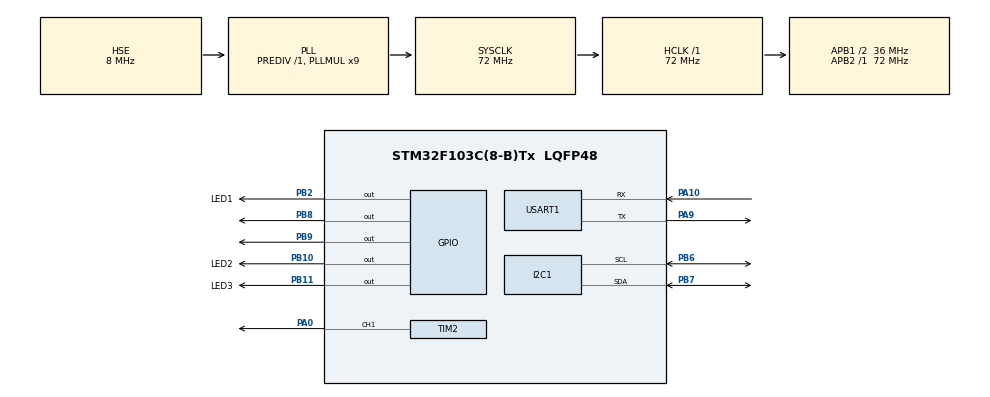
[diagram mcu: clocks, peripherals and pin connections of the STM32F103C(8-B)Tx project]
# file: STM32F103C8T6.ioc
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Dma.I2C1_TX.0.Direction=DMA_MEMORY_TO_PERIPH
Dma.I2C1_TX.0.Instance=DMA1_Channel6
Dma.I2C1_TX.0.MemDataAlignment=DMA_MDATAALIGN_BYTE
Dma.I2C1_TX.0.MemInc=DMA_MINC_ENABLE
Dma.I2C1_TX.0.Mode=DMA_NORMAL
Dma.I2C1_TX.0.PeriphDataAlignment=DMA_PDATAALIGN_BYTE
Dma.I2C1_TX.0.PeriphInc=DMA_PINC_DISABLE
Dma.I2C1_TX.0.Priority=DMA_PRIORITY_LOW
Dma.Request0=I2C1_TX
Dma.Request1=USART1_RX
Dma.Request2=USART1_TX
Dma.USART1_RX.1.Direction=DMA_PERIPH_TO_MEMORY
Dma.USART1_RX.1.Instance=DMA1_Channel5
Dma.USART1_RX.1.MemDataAlignment=DMA_MDATAALIGN_BYTE
Dma.USART1_RX.1.MemInc=DMA_MINC_ENABLE
Dma.USART1_RX.1.Mode=DMA_CIRCULAR
Dma.USART1_RX.1.PeriphDataAlignment=DMA_PDATAALIGN_BYTE
Dma.USART1_RX.1.PeriphInc=DMA_PINC_DISABLE
Dma.USART1_RX.1.Priority=DMA_PRIORITY_LOW
Dma.USART1_TX.2.Direction=DMA_MEMORY_TO_PERIPH
Dma.USART1_TX.2.Instance=DMA1_Channel4
Dma.USART1_TX.2.MemDataAlignment=DMA_MDATAALIGN_BYTE
Dma.USART1_TX.2.MemInc=DMA_MINC_ENABLE
Dma.USART1_TX.2.Mode=DMA_NORMAL
Dma.USART1_TX.2.PeriphDataAlignment=DMA_PDATAALIGN_BYTE
Dma.USART1_TX.2.PeriphInc=DMA_PINC_DISABLE
Dma.USART1_TX.2.Priority=DMA_PRIORITY_LOW
I2C1.I2C_Mode=I2C_Fast
Mcu.Family=STM32F1
Mcu.Name=STM32F103C(8-B)Tx
Mcu.Package=LQFP48
NVIC.DMA1_Channel4_IRQn=true\:0\:0\:false\:false\:true\:false\:true\:true
NVIC.DMA1_Channel5_IRQn=true\:0\:0\:false\:false\:true\:false\:true\:true
NVIC.DMA1_Channel6_IRQn=true\:0\:0\:false\:false\:true\:false\:true\:true
NVIC.I2C1_ER_IRQn=true\:0\:0\:false\:false\:true\:true\:true\:true
NVIC.I2C1_EV_IRQn=true\:0\:0\:false\:false\:true\:true\:true\:true
NVIC.PriorityGroup=NVIC_PRIORITYGROUP_4
NVIC.TIM1_BRK_IRQn=true\:0\:0\:false\:false\:true\:true\:true\:true
NVIC.TIM1_CC_IRQn=true\:0\:0\:false\:false\:true\:true\:true\:true
NVIC.TIM1_TRG_COM_IRQn=true\:0\:0\:false\:false\:true\:true\:true\:true
NVIC.TIM1_UP_IRQn=true\:0\:0\:false\:false\:true\:true\:true\:true
NVIC.USART1_IRQn=true\:0\:0\:false\:false\:true\:true\:true\:true
PA0-WKUP.Signal=S_TIM2_CH1_ETR
PA10.Mode=Asynchronous
PA10.Signal=USART1_RX
PA13.Mode=Serial_Wire
PA13.Signal=SYS_JTMS-SWDIO
PA14.Mode=Serial_Wire
PA14.Signal=SYS_JTCK-SWCLK
PA9.Mode=Asynchronous
PA9.Signal=USART1_TX
PB10.GPIO_Label=LED2
PB10.PinState=GPIO_PIN_SET
PB10.Signal=GPIO_Output
PB11.GPIO_Label=LED3
PB11.PinState=GPIO_PIN_SET
PB11.Signal=GPIO_Output
PB2.GPIO_Label=LED1
PB2.PinState=GPIO_PIN_SET
PB2.Signal=GPIO_Output
PB6.Mode=I2C
PB6.Signal=I2C1_SCL
PB7.Mode=I2C
PB7.Signal=I2C1_SDA
PB8.GPIO_ModeDefaultOutputPP=GPIO_MODE_OUTPUT_OD
PB8.GPIO_PuPd=GPIO_NOPULL
PB8.Signal=GPIO_Output
PB9.GPIO_ModeDefaultOutputPP=GPIO_MODE_OUTPUT_OD
PB9.GPIO_PuPd=GPIO_NOPULL
PB9.Signal=GPIO_Output
PD0-OSC_IN.Mode=HSE-External-Oscillator
PD0-OSC_IN.Signal=RCC_OSC_IN
PD1-OSC_OUT.Mode=HSE-External-Oscillator
PD1-OSC_OUT.Signal=RCC_OSC_OUT
ProjectManager.HeapSize=0x200
ProjectManager.StackSize=0x400
ProjectManager.TargetToolchain=Makefile
RCC.AHBFreq_Value=72000000
RCC.APB1CLKDivider=RCC_HCLK_DIV2
RCC.APB1Freq_Value=36000000
RCC.APB1TimFreq_Value=72000000
RCC.APB2Freq_Value=72000000
RCC.APB2TimFreq_Value=72000000
RCC.HCLKFreq_Value=72000000
RCC.PLLMUL=RCC_PLL_MUL9
RCC.PLLSourceVirtual=RCC_PLLSOURCE_HSE
RCC.SYSCLKFreq_VALUE=72000000
RCC.SYSCLKSource=RCC_SYSCLKSOURCE_PLLCLK
RCC.USBFreq_Value=72000000
SH.S_TIM2_CH1_ETR.0=TIM2_CH1,PWM Generation1 CH1
TIM1.AutoReloadPreload=TIM_AUTORELOAD_PRELOAD_ENABLE
TIM1.Prescaler=72-1
TIM2.AutoReloadPreload=TIM_AUTORELOAD_PRELOAD_ENABLE
TIM2.Channel-PWM\ Generation1\ CH1=TIM_CHANNEL_1
USART1.VirtualMode=VM_ASYNC
VP_TIM1_VS_ClockSourceINT.Mode=Internal
VP_TIM2_VS_ClockSourceINT.Mode=Internal
board=custom

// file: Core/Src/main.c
/* USER CODE BEGIN Header */
/**
 ******************************************************************************
 * @file           : main.c
 * @brief          : Main program body
 ******************************************************************************
 * @attention
 *
 * Copyright (c) 2022 STMicroelectronics.
 * All rights reserved.
 *
 * This software is licensed under terms that can be found in the LICENSE file
 * in the root directory of this software component.
 * If no LICENSE file comes with this software, it is provided AS-IS.
 *
 ******************************************************************************
 */
/* USER CODE END Header */
#include "main.h"
#include "dma.h"
#include "i2c.h"
#include "tim.h"
#include "usart.h"
#include "gpio.h"

/* USER CODE BEGIN Includes */
#include "delay_us/m_tim.h"
#include "fifo/fifo.h"
#include "console/console.h"
#include "uart_redirect/uart_redirect.h"
#include "led/led.h"
#include "soft_i2c/soft_i2c.h"
#include "oled/oled.h"
#include "pwm/pwm.h"
/* USER CODE END Includes */

void SystemClock_Config(void);

/* USER CODE BEGIN 0 */
#define RX_BUF_SIZE 128
uint8_t uart1_rx_dma_buf[RX_BUF_SIZE];
uint8_t uart1_rx_fifo_buf[RX_BUF_SIZE];
fifo_s_t uart1_rx_fifo;
void HAL_UARTEx_RxEventCallback(UART_HandleTypeDef *huart, uint16_t Size)
{
  static uint8_t Rx_buf_pos; // 本次回调接收的数据在缓冲区的起点
  static uint8_t Rx_length;  // 本次回调接收数据的长度
  Rx_length = Size - Rx_buf_pos;
  fifo_s_puts(&uart1_rx_fifo, (char *)&(uart1_rx_dma_buf[Rx_buf_pos]), Rx_length); // 数据填入 FIFO
  Rx_buf_pos += Rx_length;
  if (Rx_buf_pos >= RX_BUF_SIZE)
    Rx_buf_pos = 0; // 缓冲区用完后，返回 0 处重新开始
}

/* USER CODE END 0 */

int main(void)
{

  /* MCU Configuration--------------------------------------------------------*/

  /* Reset of all peripherals, Initializes the Flash interface and the Systick. */
  HAL_Init();

  /* Configure the system clock */
  SystemClock_Config();

  /* Initialize all configured peripherals */
  MX_GPIO_Init();
  MX_DMA_Init();
  MX_I2C1_Init();
  MX_TIM1_Init();
  MX_USART1_UART_Init();
  MX_TIM2_Init();
  /* USER CODE BEGIN 2 */

  setbuf(stdout, NULL);
  printf("\n");
  led_init();

  fifo_s_init(&uart1_rx_fifo, (char *)uart1_rx_fifo_buf, RX_BUF_SIZE);
  HAL_UARTEx_ReceiveToIdle_DMA(&huart1, uart1_rx_dma_buf, RX_BUF_SIZE);

  HAL_Delay_us_init();

  Soft_I2C_Init();
  OLED_Init();
  OLED_ShowStr(0, 0, "hello world", OLED_FONT8x16);

  pwm_init();
  /* USER CODE END 2 */

  /* Infinite loop */
  /* USER CODE BEGIN WHILE */
  while (1)
  {
    static uint32_t shell_tick = 0;
    if (HAL_GetTick() - shell_tick > 100)
    {
      shell_tick=HAL_GetTick();
      shell_proc();
      led_toggle(2);
    }
    static uint32_t oled_tick = 0;
    if (HAL_GetTick() - oled_tick > 1000)
    {
      oled_tick=HAL_GetTick();
      extern char str_arg[];
      OLED_ShowStr(0, 3, str_arg, 1);
    }

    /* USER CODE END WHILE */

  }
}

void SystemClock_Config(void)
{
  RCC_OscInitTypeDef RCC_OscInitStruct = {0};
  RCC_ClkInitTypeDef RCC_ClkInitStruct = {0};

  /** Initializes the RCC Oscillators according to the specified parameters
  * in the RCC_OscInitTypeDef structure.
  */
  RCC_OscInitStruct.OscillatorType = RCC_OSCILLATORTYPE_HSE;
  RCC_OscInitStruct.HSEState = RCC_HSE_ON;
  RCC_OscInitStruct.HSEPredivValue = RCC_HSE_PREDIV_DIV1;
  RCC_OscInitStruct.HSIState = RCC_HSI_ON;
  RCC_OscInitStruct.PLL.PLLState = RCC_PLL_ON;
  RCC_OscInitStruct.PLL.PLLSource = RCC_PLLSOURCE_HSE;
  RCC_OscInitStruct.PLL.PLLMUL = RCC_PLL_MUL9;
  if (HAL_RCC_OscConfig(&RCC_OscInitStruct) != HAL_OK)
  {
    Error_Handler();
  }

  /** Initializes the CPU, AHB and APB buses clocks
  */
  RCC_ClkInitStruct.ClockType = RCC_CLOCKTYPE_HCLK|RCC_CLOCKTYPE_SYSCLK
                              |RCC_CLOCKTYPE_PCLK1|RCC_CLOCKTYPE_PCLK2;
  RCC_ClkInitStruct.SYSCLKSource = RCC_SYSCLKSOURCE_PLLCLK;
  RCC_ClkInitStruct.AHBCLKDivider = RCC_SYSCLK_DIV1;
  RCC_ClkInitStruct.APB1CLKDivider = RCC_HCLK_DIV2;
  RCC_ClkInitStruct.APB2CLKDivider = RCC_HCLK_DIV1;

  if (HAL_RCC_ClockConfig(&RCC_ClkInitStruct, FLASH_LATENCY_2) != HAL_OK)
  {
    Error_Handler();
  }
}

void Error_Handler(void)
{
  __disable_irq();
  while (1)
  {
  }
}
